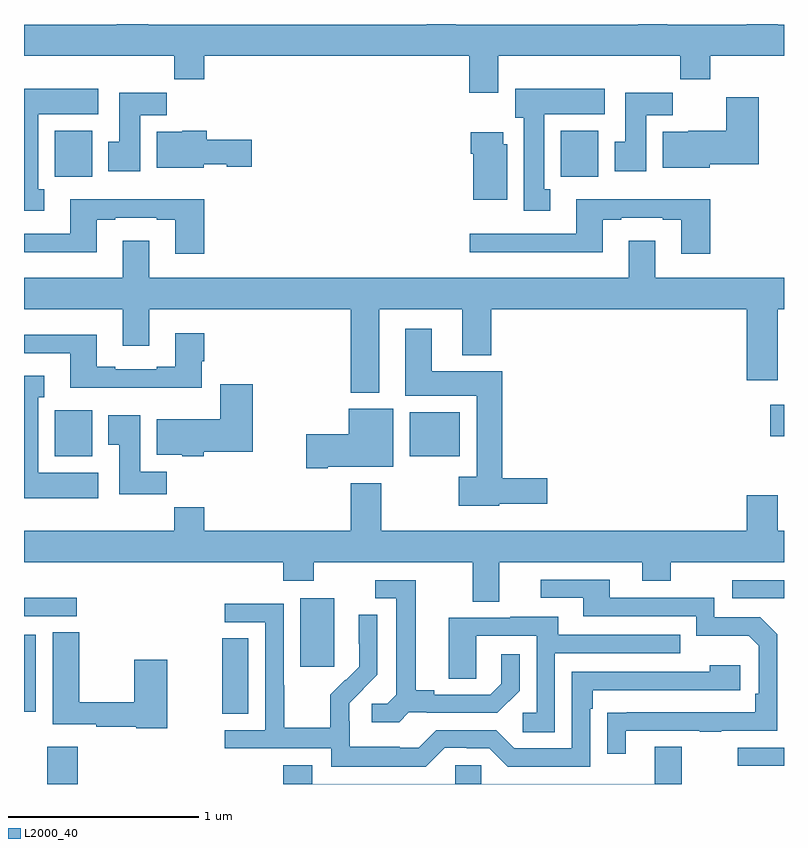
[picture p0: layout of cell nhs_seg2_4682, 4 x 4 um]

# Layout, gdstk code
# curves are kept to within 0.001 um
import gdstk
lib = gdstk.Library(unit=1e-6, precision=1e-09)
def R(c, l, rs):  # rectangles x0, y0, x1, y1
    for r in rs: c.add(gdstk.rectangle(r[:2], r[2:], *l))
def P(c, l, *ps):  # polygons
    for p in ps: c.add(gdstk.Polygon(p, *l))
L2000_40 = (2000, 40)

nhs_seg2_4682 = lib.new_cell('nhs_seg2_4682')
R(nhs_seg2_4682, L2000_40, [(365.122,647.8,365.282,647.995), (368.757,647.895,369,647.991), (366.043,648.169,366.181,648.566), (365,648.179,365.062,648.586), (366.455,648.417,366.634,648.778), (365,648.684,365.278,648.78), (368.727,648.777,369,648.873), (365.162,649.526,365.359,649.768), (367.031,649.526,367.294,649.756), (368.928,649.63,369,649.795), (365.162,650.996,365.359,651.238), (367.826,650.996,368.023,651.238)])
P(nhs_seg2_4682, L2000_40, [(367.495,651.632),(368.455,651.632),(368.455,651.508),(368.612,651.508),(368.612,651.632),(369,651.632),(369,651.796),(368.968,651.796),(368.968,651.8),(368.804,651.8),(368.804,651.796),(368.385,651.796),(368.385,651.8),(368.233,651.8),(368.233,651.796),(367.273,651.796),(367.273,651.8),(367.121,651.8),(367.121,651.796),(365.654,651.796),(365.654,651.8),(365.489,651.8),(365.489,651.796),(365,651.796),(365,651.632),(365.791,651.632),(365.791,651.508),(365.948,651.508),(365.948,651.632),(367.343,651.632),(367.343,651.438),(367.495,651.438)],
  [(367.771,650.93),(367.738,650.93),(367.738,651.326),(368.056,651.326),(368.056,651.46),(367.586,651.46),(367.586,651.306),(367.631,651.306),(367.631,650.817),(367.771,650.817)],
  [(365.107,650.93),(365.074,650.93),(365.074,651.326),(365.392,651.326),(365.392,651.46),(365,651.46),(365,650.817),(365.107,650.817)],
  [(365.611,651.32),(365.75,651.32),(365.75,651.439),(365.501,651.439),(365.501,651.18),(365.444,651.18),(365.444,651.024),(365.611,651.024)],
  [(368.275,651.32),(368.414,651.32),(368.414,651.439),(368.165,651.439),(368.165,651.18),(368.108,651.18),(368.108,651.024),(368.275,651.024)],
  [(368.61,651.062),(368.867,651.062),(368.867,651.415),(368.696,651.415),(368.696,651.238),(368.496,651.238),(368.496,651.232),(368.363,651.232),(368.363,651.044),(368.61,651.044)],
  [(365.946,651.062),(366.066,651.062),(366.066,651.05),(366.199,651.05),(366.199,651.192),(365.963,651.192),(365.963,651.238),(365.832,651.238),(365.832,651.232),(365.699,651.232),(365.699,651.044),(365.946,651.044)],
  [(367.543,651.168),(367.522,651.168),(367.522,651.229),(367.352,651.229),(367.352,651.116),(367.364,651.116),(367.364,650.876),(367.543,650.876)],
  [(365.948,650.878),(365.243,650.878),(365.243,650.697),(365,650.697),(365,650.6),(365.383,650.6),(365.383,650.769),(365.479,650.769),(365.479,650.781),(365.699,650.781),(365.699,650.769),(365.795,650.769),(365.795,650.592),(365.948,650.592)],
  [(368.612,650.878),(367.907,650.878),(367.907,650.697),(367.347,650.697),(367.347,650.6),(368.047,650.6),(368.047,650.769),(368.143,650.769),(368.143,650.781),(368.363,650.781),(368.363,650.769),(368.459,650.769),(368.459,650.592),(368.612,650.592)],
  [(366.871,650.3),(367.307,650.3),(367.307,650.057),(367.46,650.057),(367.46,650.3),(368.804,650.3),(368.804,649.926),(368.968,649.926),(368.968,650.3),(369,650.3),(369,650.464),(368.323,650.464),(368.323,650.659),(368.183,650.659),(368.183,650.464),(365.659,650.464),(365.659,650.659),(365.519,650.659),(365.519,650.464),(365,650.464),(365,650.3),(365.519,650.3),(365.519,650.106),(365.659,650.106),(365.659,650.3),(366.719,650.3),(366.719,649.859),(366.871,649.859)],
  [(367.5,649.274),(367.753,649.274),(367.753,649.409),(367.517,649.409),(367.517,649.972),(367.147,649.972),(367.147,650.197),(367.007,650.197),(367.007,649.844),(367.382,649.844),(367.382,649.417),(367.287,649.417),(367.287,649.265),(367.5,649.265)],
  [(365.935,650.025),(365.948,650.025),(365.948,650.173),(365.795,650.173),(365.795,649.996),(365.699,649.996),(365.699,649.983),(365.479,649.983),(365.479,649.996),(365.383,649.996),(365.383,650.164),(365,650.164),(365,650.067),(365.243,650.067),(365.243,649.886),(365.935,649.886)],
  [(365.392,649.438),(365.074,649.438),(365.074,649.835),(365.107,649.835),(365.107,649.948),(365,649.948),(365,649.304),(365.392,649.304)],
  [(365.946,649.55),(366.203,649.55),(366.203,649.903),(366.032,649.903),(366.032,649.72),(365.699,649.72),(365.699,649.532),(365.832,649.532),(365.832,649.526),(365.946,649.526)],
  [(366.598,649.469),(366.943,649.469),(366.943,649.774),(366.71,649.774),(366.71,649.64),(366.486,649.64),(366.486,649.462),(366.598,649.462)],
  [(365.75,649.444),(365.611,649.444),(365.611,649.741),(365.444,649.741),(365.444,649.585),(365.501,649.585),(365.501,649.326),(365.75,649.326)],
  [(367.501,648.968),(368.255,648.968),(368.255,648.869),(368.403,648.869),(368.403,648.968),(369,648.968),(369,649.132),(368.968,649.132),(368.968,649.321),(368.804,649.321),(368.804,649.132),(366.879,649.132),(366.879,649.384),(366.719,649.384),(366.719,649.132),(365.948,649.132),(365.948,649.256),(365.791,649.256),(365.791,649.132),(365,649.132),(365,648.968),(366.365,648.968),(366.365,648.869),(366.525,648.869),(366.525,648.968),(367.361,648.968),(367.361,648.76),(367.501,648.76)],
  [(368.167,648.081),(368.557,648.081),(368.557,648.076),(368.669,648.076),(368.669,648.081),(368.964,648.081),(368.964,648.588),(368.874,648.678),(368.634,648.678),(368.634,648.78),(368.083,648.78),(368.083,648.876),(367.719,648.876),(367.719,648.78),(367.943,648.78),(367.943,648.684),(368.538,648.684),(368.538,648.581),(368.815,648.581),(368.868,648.528),(368.868,648.274),(368.848,648.274),(368.848,648.177),(368.071,648.176),(368.071,647.958),(368.167,647.958)],
  [(367.026,648.177),(367.12,648.177),(367.12,648.174),(367.492,648.174),(367.608,648.29),(367.608,648.484),(367.511,648.484),(367.511,648.327),(367.454,648.27),(367.159,648.27),(367.159,648.293),(367.063,648.293),(367.063,648.873),(366.849,648.873),(366.849,648.777),(366.959,648.777),(366.959,648.269),(366.912,648.222),(366.831,648.222),(366.831,648.125),(366.974,648.125)],
  [(367.215,647.991),(367.331,647.991),(367.331,647.988),(367.449,647.988),(367.545,647.892),(367.98,647.892),(367.98,648.197),(367.993,648.197),(367.993,648.294),(368.77,648.294),(368.77,648.424),(368.609,648.424),(368.609,648.39),(367.884,648.39),(367.884,647.988),(367.581,647.988),(367.485,648.084),(367.17,648.084),(367.077,647.991),(366.977,647.991),(366.977,647.995),(366.714,647.995),(366.714,648.129),(366.712,648.129),(366.712,648.226),(366.858,648.374),(366.858,648.692),(366.762,648.692),(366.762,648.538),(366.764,648.538),(366.764,648.416),(366.693,648.345),(366.69,648.348),(366.613,648.271),(366.613,648.097),(366.369,648.097),(366.369,648.32),(366.366,648.32),(366.366,648.75),(366.057,648.75),(366.057,648.651),(366.27,648.651),(366.27,648.084),(366.057,648.084),(366.057,647.988),(366.618,647.988),(366.618,647.891),(367.115,647.891)],
  [(367.794,648.489),(368.453,648.489),(368.453,648.585),(367.813,648.585),(367.813,648.679),(367.559,648.679),(367.559,648.675),(367.235,648.675),(367.235,648.355),(367.38,648.355),(367.38,648.579),(367.698,648.579),(367.698,648.174),(367.626,648.174),(367.626,648.073),(367.794,648.073)],
  [(365.754,648.454),(365.581,648.454),(365.581,648.23),(365.292,648.23),(365.292,648.599),(365.15,648.599),(365.15,648.114),(365.38,648.114),(365.38,648.102),(365.592,648.102),(365.592,648.094),(365.754,648.094)],
  [(366.365,647.8),(368.461,647.8),(368.461,647.995),(368.321,647.995),(368.321,647.8),(367.407,647.8),(367.407,647.898),(367.269,647.898),(367.269,647.8),(366.517,647.8),(366.517,647.899),(366.365,647.899)])

lib.write_gds('nhs_seg2_4682.gds')
